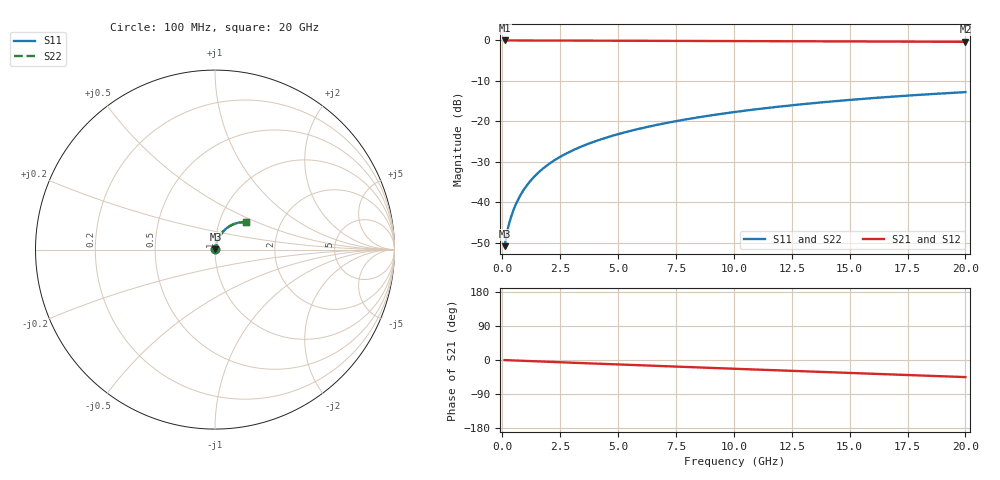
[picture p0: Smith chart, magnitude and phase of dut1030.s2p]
! Touchstone file exported from HFSS 2026.1.0
!  File:  C:/ffzhzh/LocalFiles/Ansys_Project_Files/temp_train_TMRDL_1030_1783160037_55132.aedt
!  Generated:  06:15:16 PM Jul  4, 2026
!  Design:  TMRDL
!  Project:  temp_train_TMRDL_1030_1783160037_55132
! Variables:
!  h_bsmrdl = 2um
!  h_ox = 20um
!  h_rdl = 5um
!  h_sub = 80um
!  h_tmrdl = 5.98um
!  h_tsv = 80um
!  h_via = 3um
!  l_bsmrdl = 300um
!  l_sub = 1168.39um
!  l_tmrdl = 768.39um
!  m_sub = 200um
!  pitch = 36.35um
!  r_tsv = 6um
!  s_tmrdl = 10um
!  w_bsmrdl = 18um
!  w_sub = 500um
!  w_tmrdl = 22.62um
!  x_tsv_center1 = 779.7um
!  x_tsv_center2 = 1097.7um
!  x_tsv_center3 = 1888.71um
!  x_tsv_center4 = 2206.71um
!  x_tsv_center5 = 2997.72um
!  x_tsv_center6 = 3315.72um
# GHz S MA R 50.000000
! Terminal data exported
! Port[1] = TM_RDL1_1_T1
! Port[2] = TM_RDL1_1_T2
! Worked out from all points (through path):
!   200 points, 100 MHz to 20 GHz, reference 50 ohm
!   highest |S21| = -0.02 dB at 100 MHz (marker M1); lowest = -0.4 dB at 20 GHz (marker M2)
!   group delay of S21, straight-line fit = 6.24 ps
!   lowest |S11| = -50.8 dB at 100 MHz (marker M3), VSWR 1.01, Z = 50.2 + j0.18 ohm
!   |S11| at or under -10 dB: start of sweep to end of sweep
!   |S22| runs from -50.8 to -12.8 dB; largest |S21 - S12| = 1.1e-14
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0.1  0.002876 38.5  0.9978 -0.3  0.9978 -0.3  0.002876 38.5
! Gamma 0 0 0 0
! Port Impedance 50 0 50 0
0.2  0.004206 53.3  0.9975 -0.5  0.9975 -0.5  0.004206 53.3
0.3  0.00555 60.5  0.9973 -0.7  0.9973 -0.7  0.005551 60.5
0.4  0.006899 65.1  0.9972 -1.0  0.9972 -1.0  0.0069 65.1
0.5  0.008268 68.3  0.9971 -1.2  0.9971 -1.2  0.008268 68.3
0.6  0.009657 70.7  0.9971 -1.5  0.9971 -1.5  0.009657 70.7
0.8  0.01248 73.6  0.9969 -1.9  0.9969 -1.9  0.01248 73.6
1.1  0.01676 75.9  0.9966 -2.6  0.9966 -2.6  0.01676 75.9
1.3  0.01962 76.6  0.9964 -3.1  0.9964 -3.1  0.01962 76.6
1.6  0.0239 77.1  0.996 -3.8  0.996 -3.8  0.0239 77.1
2.1  0.03095 77.0  0.9953 -5.0  0.9953 -5.0  0.03095 77.0
2.7  0.03924 76.3  0.9943 -6.4  0.9943 -6.4  0.03924 76.3
3.5  0.05 75.0  0.9929 -8.3  0.9929 -8.3  0.05 75.0
4.2  0.05919 73.8  0.9917 -9.9  0.9917 -9.9  0.05919 73.8
5  0.06948 72.3  0.9903 -11.7  0.9903 -11.7  0.06948 72.3
5.9  0.08083 70.6  0.9888 -13.8  0.9888 -13.8  0.08083 70.5
6.8  0.09198 68.8  0.9872 -15.8  0.9872 -15.8  0.09199 68.8
8.3  0.1101 65.8  0.9844 -19.2  0.9844 -19.2  0.1101 65.8
10.1  0.1312 62.2  0.9809 -23.3  0.9809 -23.3  0.1312 62.2
13.4  0.1675 55.4  0.974 -30.7  0.974 -30.7  0.1675 55.4
16.7  0.2005 48.5  0.9668 -37.9  0.9668 -37.9  0.2005 48.5
20  0.2297 41.7  0.9595 -45.1  0.9595 -45.1  0.2297 41.6
